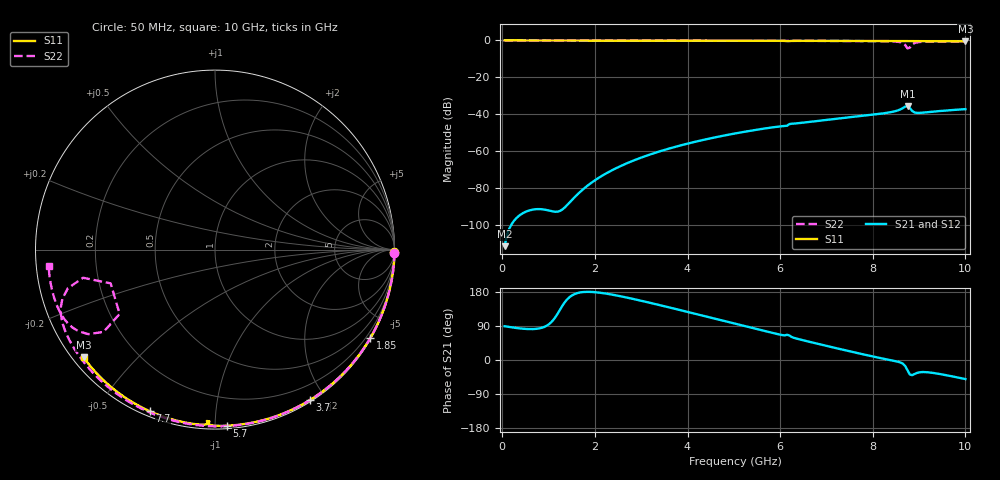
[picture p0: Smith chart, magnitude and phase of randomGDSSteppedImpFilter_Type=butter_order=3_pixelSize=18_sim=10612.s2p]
! freq	dB(S11)	phase(S11)	dB(S12)	phase(S12)
!  dB(S21)	phase(S21)	dB(S22)	phase(S22)
!S-par simulation data
#  GHz  S  DB  R 50
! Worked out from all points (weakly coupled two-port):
!   200 points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, 50 MHz to 10 GHz, reference 50 ohm
!   highest |S21| = -35.51 dB at 8.75 GHz (marker M1); lowest = -111.4 dB at 50 MHz (marker M2)
!   lowest |S11| = -0.5 dB at 10 GHz (marker M3), VSWR 36.65, Z = 1.54 - j17.8 ohm
!   |S11| at or under -10 dB: nowhere
!   |S22| runs from -4.3 to 0.0 dB; largest |S21 - S12| = 0
!   S11 on the Smith chart (normalised r, x): 50 MHz: open; 1.85 GHz: 0.03, -3.78; 3.7 GHz: 0.02, -1.81; 5.7 GHz: 0.02, -1.07; 7.7 GHz: 0.02, -0.67; 10 GHz: 0.03, -0.36
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0.05  -0.00 -0.8  -111.36 89.0  -111.36 89.0  -0.00 -1.0
0.85  -0.02 -13.8  -91.37 84.9  -91.37 84.9  -0.02 -17.1
1.75  -0.04 -28.1  -80.45 179.4  -80.45 179.4  -0.04 -34.8
1.85  -0.04 -29.6  -78.42 179.9  -78.42 179.9  -0.05 -36.7
2.5  -0.05 -39.7  -68.64 169.5  -68.64 169.5  -0.06 -49.2
3.4  -0.07 -53.3  -60.03 144.8  -60.03 144.8  -0.09 -65.8
3.7  -0.08 -57.8  -57.83 135.9  -57.83 135.9  -0.10 -71.3
5.05  -0.12 -77.1  -50.24 95.1  -50.24 95.1  -0.15 -94.9
5.7  -0.15 -86.1  -47.53 75.6  -47.53 75.6  -0.18 -105.8
6.7  -0.19 -99.0  -43.88 46.0  -43.88 46.0  -0.24 -122.4
7.7  -0.26 -112.0  -41.02 17.5  -41.02 17.5  -0.33 -139.4
8.35  -0.31 -120.1  -38.99 0.5  -38.99 0.5  -0.47 -152.6
8.55  -0.32 -122.6  -37.79 -4.7  -37.79 -4.7  -0.75 -159.5
8.65  -0.33 -123.9  -36.61 -9.8  -36.61 -9.8  -1.44 -165.3
8.7  -0.34 -124.5  -35.83 -15.9  -35.83 -15.9  -2.48 -168.0
8.75  -0.34 -125.1  -35.51 -27.3  -35.51 -27.3  -4.28 -162.1
8.8  -0.35 -125.7  -36.62 -38.2  -36.62 -38.2  -3.86 -146.0
8.85  -0.35 -126.4  -38.14 -39.9  -38.14 -39.9  -2.25 -143.5
8.9  -0.36 -127.0  -38.95 -37.1  -38.95 -37.1  -1.43 -146.3
9  -0.37 -128.2  -39.22 -32.7  -39.22 -32.7  -0.86 -151.4
9.2  -0.39 -130.7  -38.78 -32.5  -38.78 -32.5  -0.62 -157.9
10  -0.47 -140.7  -37.18 -50.3  -37.18 -50.3  -0.62 -174.4
